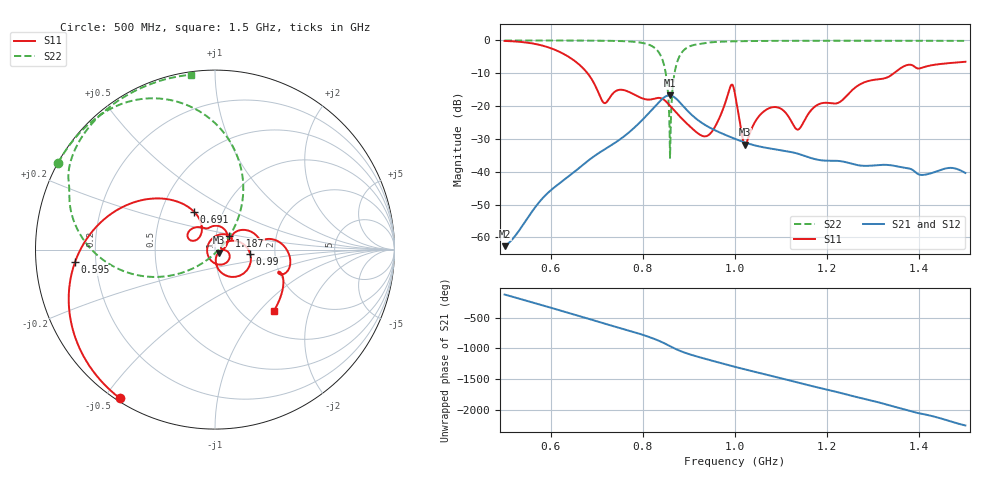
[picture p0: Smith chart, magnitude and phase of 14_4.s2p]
! TOUCHSTONE file generated by CST MICROWAVE STUDIO
! Date and time: Fri Oct  2 16:56:03 2020
! Project name: Scenario_1_Free_Space_out_of_line.cst
! Parameters = {Lambda=346.42; Step_1=17.321; dy1=122.207; dx1=693; L_HA=400; MT=2.54; Rad_Dielectric=30; Rad_Lower=7.3; Rad_Upper=30; a_HA=580; a_WG=246; b_HA=500; b_WG=121; c_HA=0; c_WG=187; d_feed=85; h_feed=15; h_lower=18; h_upper=40}
! Header version: 2018
! Port assignment regex: !\s*Touchstone port\s*([0-9]+)\s*=\s*(CST MWS port|CST DS port)\s*([0-9]+|Zmin|Zmax)\s*\(\"(.*)\"\)(\s*mode\s*([0-9]+))?.*
! Touchstone port assignment:
! Touchstone port 1 = CST MWS port 1 ("")
! Touchstone port 2 = CST MWS port 2 ("")
# GHz S DB R 50
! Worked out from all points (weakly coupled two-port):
!   1003 points, 500 MHz to 1.5 GHz, reference 50 ohm
!   highest |S21| = -16.72 dB at 858 MHz (marker M1); lowest = -62.7 dB at 500 MHz (marker M2)
!   lowest |S11| = -31.8 dB at 1.022 GHz (marker M3), VSWR 1.05, Z = 52 - j1.73 ohm
!   |S11| at or under -10 dB: 679.9 MHz to 1.345 GHz (664.7 MHz wide, 65.7 % of centre)
!   |S22| runs from -35.8 to 0.0 dB; largest |S21 - S12| = 5.5e-06
!   S11 on the Smith chart (normalised r, x): 500 MHz: 0.01, -0.55; 595 MHz: 0.12, -0.04; 691 MHz: 0.73, +0.33; 990 MHz: 1.49, -0.08; 1.187 GHz: 1.15, +0.18; 1.5 GHz: 1.37, -1.20
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0.5  -0.15 -122.7  -62.69 -119.6  -62.69 -119.6  -0.01 151.1
0.595  -2.12 -174.8  -46.32 36.7  -46.32 36.7  -0.02 144.5
0.667  -8.01 134.6  -38.25 -120.7  -38.25 -120.7  -0.04 138.3
0.691  -12.30 119.1  -35.62 -175.7  -35.62 -175.7  -0.06 135.8
0.717  -19.11 141.3  -33.19 125.3  -33.19 125.3  -0.10 132.6
0.788  -16.97 119.9  -25.73 -29.6  -25.73 -29.6  -0.52 117.6
0.834  -17.50 86.7  -18.95 -152.6  -18.95 -152.6  -3.50 86.9
0.848  -18.31 61.8  -17.19 159.1  -17.19 159.1  -8.71 64.5
0.858  -19.74 46.0  -16.72 120.6  -16.72 120.6  -27.31 26.1
0.863  -20.54 39.3  -16.87 101.2  -16.87 101.2  -17.44 -136.8
0.87  -21.64 31.2  -17.47 75.2  -17.47 75.2  -9.05 -154.5
0.887  -24.15 15.7  -19.92 21.2  -19.92 21.2  -3.25 -180.0
0.942  -28.90 21.2  -26.32 -103.8  -26.32 -103.8  -0.65 151.4
0.99  -14.07 -7.1  -29.43 158.3  -29.43 158.3  -0.29 141.7
1  -16.34 -68.7  -29.99 138.5  -29.99 138.5  -0.26 140.3
1.022  -31.77 -40.1  -31.12 96.4  -31.12 96.4  -0.21 137.5
1.071  -20.86 -25.4  -32.81 6.6  -32.81 6.6  -0.14 132.3
1.136  -27.17 174.3  -34.49 -117.6  -34.49 -117.6  -0.11 126.7
1.167  -20.99 71.1  -35.92 -175.4  -35.92 -175.4  -0.09 124.2
1.187  -19.17 44.6  -36.52 150.1  -36.52 150.1  -0.09 122.6
1.334  -11.02 11.5  -37.97 -127.8  -37.97 -127.8  -0.09 111.5
1.5  -6.50 -45.9  -40.38 -99.1  -40.38 -99.2  -0.14 97.9
